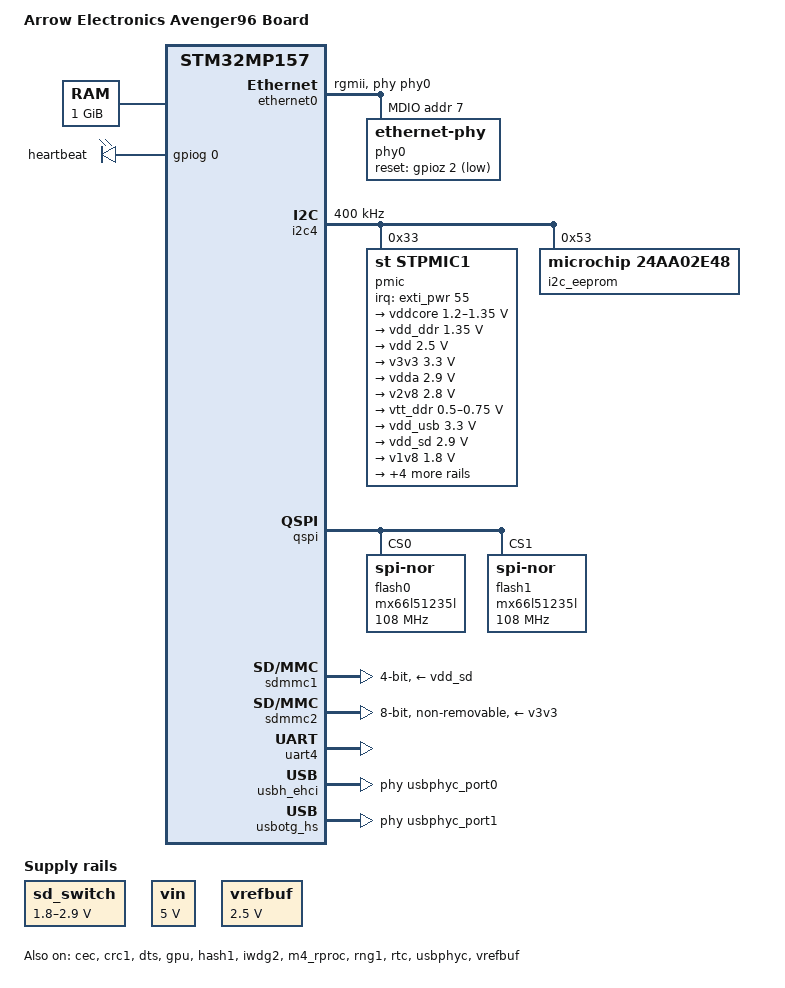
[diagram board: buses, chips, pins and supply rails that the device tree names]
// SPDX-License-Identifier: (GPL-2.0+ OR BSD-3-Clause)
/*
 * Copyright (C) Arrow Electronics 2020 - All Rights Reserved
 * Author: Botond Kardos <botond.kardos@arroweurope.com> for Arrow Electronics
 */

#include "stm32mp157-m4-srm.dtsi"
#include "stm32mp157-m4-srm-pinctrl.dtsi"
#include <dt-bindings/mfd/st,stpmic1.h>

/ {
	model = "Arrow Electronics Avenger96 Board";
	compatible = "st,stm32mp157a-av96", "st,stm32mp157";

	aliases {
		ethernet0 = &ethernet0;
		serial0 = &uart4;
	};

	chosen {
		stdout-path = "serial0:115200n8";
	};

	config {
		dh,avenger96-hwver = <1>;
		dh,hwver-gpios = <&gpiog 13 GPIO_ACTIVE_HIGH>,
				<&gpiod 9 GPIO_ACTIVE_HIGH>;
	};

	reserved-memory {
		gpu_reserved: gpu@da000000 {
			reg = <0xda000000 0x4000000>;
			no-map;
		};

		optee_memory: optee@0xde000000 {
			reg = <0xde000000 0x02000000>;
			no-map;
		};
	};
};

/ {
	memory@c0000000 {
		device_type = "memory";
		reg = <0xc0000000 0x40000000>;
	};

	reserved-memory {
		#address-cells = <1>;
		#size-cells = <1>;
		ranges;

		mcuram2: mcuram2@10000000 {
			compatible = "shared-dma-pool";
			reg = <0x10000000 0x40000>;
			no-map;
		};

		vdev0vring0: vdev0vring0@10040000 {
			compatible = "shared-dma-pool";
			reg = <0x10040000 0x1000>;
			no-map;
		};

		vdev0vring1: vdev0vring1@10041000 {
			compatible = "shared-dma-pool";
			reg = <0x10041000 0x1000>;
			no-map;
		};

		vdev0buffer: vdev0buffer@10042000 {
			compatible = "shared-dma-pool";
			reg = <0x10042000 0x4000>;
			no-map;
		};

		mcuram: mcuram@30000000 {
			compatible = "shared-dma-pool";
			reg = <0x30000000 0x40000>;
			no-map;
		};

		retram: retram@38000000 {
			compatible = "shared-dma-pool";
			reg = <0x38000000 0x10000>;
			no-map;
		};
	};

	led {
		compatible = "gpio-leds";
		blue {
			label = "heartbeat";
			gpios = <&gpiog 0 GPIO_ACTIVE_HIGH>;
			linux,default-trigger = "heartbeat";
			default-state = "off";
		};
	};

    sd_switch: regulator-sd_switch {
		compatible = "regulator-gpio";
		regulator-name = "sd_switch";
		regulator-min-microvolt = <1800000>;
		regulator-max-microvolt = <2900000>;
		regulator-type = "voltage";
		regulator-always-on;

		gpios = <&gpioi 5 GPIO_ACTIVE_HIGH>;
		gpios-states = <0>;
		states = <1800000 0x1 2900000 0x0>;
    };

	usb_phy_tuning: usb-phy-tuning {
		st,hs-dc-level = <2>;
		st,fs-rftime-tuning;
		st,hs-rftime-reduction;
		st,hs-current-trim = <15>;
		st,hs-impedance-trim = <1>;
		st,squelch-level = <3>;
		st,hs-rx-offset = <2>;
		st,no-lsfs-sc;
	};

	vin: vin {
		compatible = "regulator-fixed";
		regulator-name = "vin";
		regulator-min-microvolt = <5000000>;
		regulator-max-microvolt = <5000000>;
		regulator-always-on;
	};
};

&cec {
	pinctrl-names = "default", "sleep";
	pinctrl-0 = <&cec_pins_b>;
	pinctrl-1 = <&cec_pins_sleep_b>;
	status = "okay";
};

&cpu0{
	cpu-supply = <&vddcore>;
};

&cpu1{
	cpu-supply = <&vddcore>;
};

&crc1 {
	status = "okay";
};

&dma1 {
	sram = <&dma_pool>;
};

&dma2 {
	sram = <&dma_pool>;
};

&dts {
	status = "okay";
};

&ethernet0 {
	status = "okay";
	pinctrl-0 = <&ethernet0_rgmii_pins_a>;
	pinctrl-1 = <&ethernet0_rgmii_pins_sleep_a>;
	pinctrl-names = "default", "sleep";
	phy-mode = "rgmii";
	max-speed = <1000>;
	phy-handle = <&phy0>;

	rxc-skew-ps = <1500>;
	rxdv-skew-ps = <540>;
	rxd0-skew-ps = <420>;
	rxd1-skew-ps = <420>;
	rxd2-skew-ps = <420>;
	rxd3-skew-ps = <420>;

	txc-skew-ps = <1860>;
	txen-skew-ps = <420>;
	txd0-skew-ps = <420>;
	txd1-skew-ps = <420>;
	txd2-skew-ps = <420>;
	txd3-skew-ps = <420>;

	mdio0 {
		#address-cells = <1>;
		#size-cells = <0>;
		compatible = "snps,dwmac-mdio";
		phy0: ethernet-phy@7 {
			reg = <7>;
			reset-gpios = <&gpioz 2 GPIO_ACTIVE_LOW>;
		};
	};
};

&gpu {
	contiguous-area = <&gpu_reserved>;
	status = "okay";
};

&hash1 {
	status = "okay";
};

&i2c4 {
	pinctrl-names = "default", "sleep";
	pinctrl-0 = <&i2c4_pins_a>;
	pinctrl-1 = <&i2c4_pins_sleep_a>;
	i2c-scl-rising-time-ns = <185>;
	i2c-scl-falling-time-ns = <20>;
	clock-frequency = <400000>;
	status = "okay";
	/* spare dmas for other usage */
	/delete-property/dmas;
	/delete-property/dma-names;

	pmic: stpmic@33 {
		compatible = "st,stpmic1";
		reg = <0x33>;
		interrupts-extended = <&exti_pwr 55 IRQ_TYPE_EDGE_FALLING>;
		interrupt-controller;
		#interrupt-cells = <2>;
		status = "okay";

		regulators {
			compatible = "st,stpmic1-regulators";
			buck1-supply = <&vin>;
			buck2-supply = <&vin>;
			buck3-supply = <&vin>;
			buck4-supply = <&vin>;

			ldo1-supply = <&v3v3>;
			ldo2-supply = <&v3v3>;
			ldo3-supply = <&vdd_ddr>;
			ldo4-supply = <&vin>;
			ldo5-supply = <&v3v3>;
			ldo6-supply = <&v3v3>;

			vref_ddr-supply = <&vin>;
			boost-supply = <&vin>;
			pwr_sw1-supply = <&bst_out>;
			pwr_sw2-supply = <&bst_out>;

			vddcore: buck1 {
				regulator-name = "vddcore";
				regulator-min-microvolt = <1200000>;
				regulator-max-microvolt = <1350000>;
				regulator-always-on;
				regulator-initial-mode = <0>;
				regulator-over-current-protection;
			};

			vdd_ddr: buck2 {
				regulator-name = "vdd_ddr";
				regulator-min-microvolt = <1350000>;
				regulator-max-microvolt = <1350000>;
				regulator-always-on;
				regulator-initial-mode = <0>;
				regulator-over-current-protection;
			};

			vdd: buck3 {
				regulator-name = "vdd";
				regulator-min-microvolt = <2500000>;
				regulator-max-microvolt = <2500000>;
				regulator-always-on;
				st,mask-reset;
				regulator-initial-mode = <0>;
				regulator-over-current-protection;
			};

			v3v3: buck4 {
				regulator-name = "v3v3";
				regulator-min-microvolt = <3300000>;
				regulator-max-microvolt = <3300000>;
				regulator-always-on;
				regulator-over-current-protection;
				regulator-initial-mode = <0>;
			};

			vdda: ldo1 {
				regulator-name = "vdda";
				regulator-min-microvolt = <2900000>;
				regulator-max-microvolt = <2900000>;
				regulator-always-on;
				interrupts = <IT_CURLIM_LDO1 0>;
			};

			v2v8: ldo2 {
				regulator-name = "v2v8";
				regulator-min-microvolt = <2800000>;
				regulator-max-microvolt = <2800000>;
				regulator-always-on;
				interrupts = <IT_CURLIM_LDO2 0>;
			};

			vtt_ddr: ldo3 {
				regulator-name = "vtt_ddr";
				regulator-min-microvolt = <500000>;
				regulator-max-microvolt = <750000>;
				regulator-always-on;
				regulator-over-current-protection;
			};

			vdd_usb: ldo4 {
				regulator-name = "vdd_usb";
				regulator-min-microvolt = <3300000>;
				regulator-max-microvolt = <3300000>;
				interrupts = <IT_CURLIM_LDO4 0>;
				regulator-always-on;
			};

			vdd_sd: ldo5 {
				regulator-name = "vdda";
				regulator-min-microvolt = <2900000>;
				regulator-max-microvolt = <2900000>;
				interrupts = <IT_CURLIM_LDO5 0>;
				regulator-boot-on;
			};

			v1v8: ldo6 {
				regulator-name = "v1v8";
				regulator-min-microvolt = <1800000>;
				regulator-max-microvolt = <1800000>;
				regulator-always-on;
				interrupts = <IT_CURLIM_LDO6 0>;
			};

			vref_ddr: vref_ddr {
				regulator-name = "vref_ddr";
				regulator-always-on;
				regulator-over-current-protection;
			};

			 bst_out: boost {
				regulator-name = "bst_out";
				interrupts = <IT_OCP_BOOST 0>;
			 };

			vbus_otg: pwr_sw1 {
				regulator-name = "vbus_otg";
				interrupts = <IT_OCP_OTG 0>;
			 };

			 vbus_sw: pwr_sw2 {
				regulator-name = "vbus_sw";
				interrupts = <IT_OCP_SWOUT 0>;
				regulator-active-discharge = <1>;
			 };
		};

		onkey {
			compatible = "st,stpmic1-onkey";
			interrupts = <IT_PONKEY_F 0>, <IT_PONKEY_R 1>;
			interrupt-names = "onkey-falling", "onkey-rising";
			power-off-time-sec = <10>;
			status = "okay";
		};

		watchdog {
			compatible = "st,stpmic1-wdt";
			status = "disabled";
		};
	};

    i2c_eeprom: i2c_eeprom@53 {
		compatible = "microchip,24aa02e48";
		reg = <0x53>;
    };
};

&ipcc {
	status = "okay";
};

&iwdg2 {
	timeout-sec = <32>;
	status = "okay";
};

&qspi {
	pinctrl-names = "default", "sleep";
	pinctrl-0 = <&qspi_clk_pins_a &qspi_bk1_pins_a &qspi_bk2_pins_a>;
	pinctrl-1 = <&qspi_clk_sleep_pins_a &qspi_bk1_sleep_pins_a &qspi_bk2_sleep_pins_a>;
	reg = <0x58003000 0x1000>, <0x70000000 0x4000000>;
	#address-cells = <1>;
	#size-cells = <0>;
	status = "okay";

	flash0: mx66l51235l@0 {
		compatible = "jedec,spi-nor";
		reg = <0>;
		spi-rx-bus-width = <4>;
		spi-max-frequency = <108000000>;
		#address-cells = <1>;
		#size-cells = <1>;
	};

	flash1: mx66l51235l@1 {
		compatible = "jedec,spi-nor";
		reg = <1>;
		spi-rx-bus-width = <4>;
		spi-max-frequency = <108000000>;
		#address-cells = <1>;
		#size-cells = <1>;
	};
};
 
&m4_rproc {
	memory-region = <&retram>, <&mcuram>, <&mcuram2>, <&vdev0vring0>,
			<&vdev0vring1>, <&vdev0buffer>;
	mboxes = <&ipcc 0>, <&ipcc 1>, <&ipcc 2>;
	mbox-names = "vq0", "vq1", "shutdown";
	interrupt-parent = <&exti>;
	interrupts = <68 1>;
	wakeup-source;
	status = "okay";
};

&pwr_regulators {
	vdd-supply = <&vdd>;
	vdd_3v3_usbfs-supply = <&vdd_usb>;
};

&rng1 {
	status = "okay";
};

&rtc {
	status = "okay";
};

&sdmmc1 {
	pinctrl-names = "default", "opendrain", "sleep";
	pinctrl-0 = <&sdmmc1_b4_pins_a &sdmmc1_dir_pins_a>;
	pinctrl-1 = <&sdmmc1_b4_od_pins_a &sdmmc1_dir_pins_a>;
	pinctrl-2 = <&sdmmc1_b4_sleep_pins_a &sdmmc1_dir_sleep_pins_a>;
	broken-cd;
	disable-wp;
	st,neg-edge;
	st,sig-dir;
	st,use-ckin;
	bus-width = <4>;
	vmmc-supply = <&vdd_sd>;
	vqmmc-supply = <&sd_switch>;
	sd-uhs-sdr12;
	sd-uhs-sdr25;
	sd-uhs-sdr50;
	sd-uhs-ddr50;
	sd-uhs-sdr104;
	status = "okay";
};

&sdmmc2 {
	pinctrl-names = "default", "opendrain", "sleep";
	pinctrl-0 = <&sdmmc2_b4_pins_a &sdmmc2_d47_pins_b>;
	pinctrl-1 = <&sdmmc2_b4_od_pins_a &sdmmc2_d47_pins_b>;
	pinctrl-2 = <&sdmmc2_b4_sleep_pins_a &sdmmc2_d47_sleep_pins_b>;
	non-removable;
	no-sd;
	no-sdio;
	st,neg-edge;
	bus-width = <8>;
	vmmc-supply = <&v3v3>;
	vqmmc-supply = <&v3v3>;
	mmc-ddr-3_3v;
	status = "okay";
};

&sram {
	dma_pool: dma_pool@0 {
		reg = <0x50000 0x10000>;
		pool;
	};
};

&uart4 {
	pinctrl-names = "default", "sleep", "idle";
	pinctrl-0 = <&uart4_pins_b>;
	pinctrl-1 = <&uart4_sleep_pins_b>;
	pinctrl-2 = <&uart4_idle_pins_b>;
	pinctrl-3 = <&uart4_pins_b>;
	/delete-property/dmas;
	/delete-property/dma-names;
	status = "okay";
};

&usbh_ehci {
	phys = <&usbphyc_port0>;
	status = "okay";
};

&usbotg_hs {
	pinctrl-0 = <&usbotg_hs_pins_a>;
	pinctrl-names = "default";
	phys = <&usbphyc_port1 0>;
	phy-names = "usb2-phy";
	status = "okay";
};

&usbphyc {
	status = "okay";
};

&usbphyc_port0 {
	phy-supply = <&vdd_usb>;
	st,phy-tuning = <&usb_phy_tuning>;
};

&usbphyc_port1 {
	phy-supply = <&vdd_usb>;
	st,phy-tuning = <&usb_phy_tuning>;
};

&vrefbuf {
	regulator-min-microvolt = <2500000>;
	regulator-max-microvolt = <2500000>;
	vdda-supply = <&vdd>;
	status = "okay";
};
